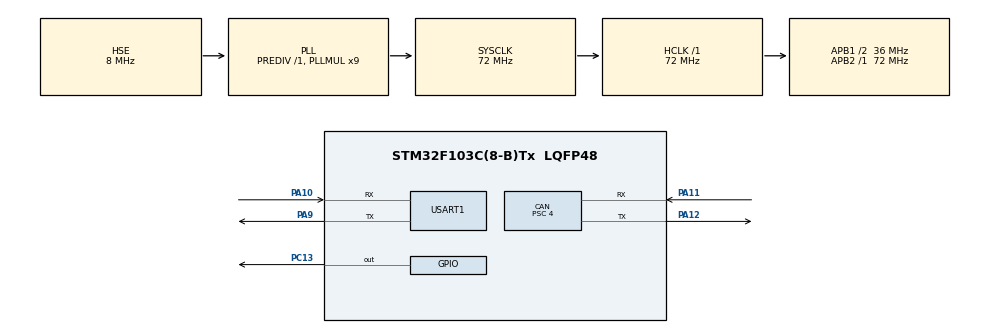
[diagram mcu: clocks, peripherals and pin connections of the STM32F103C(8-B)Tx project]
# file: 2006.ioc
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CAN.ABOM=ENABLE
CAN.AWUM=DISABLE
CAN.BS1=CAN_BS1_6TQ
CAN.BS2=CAN_BS2_2TQ
CAN.CalculateBaudRate=1000000
CAN.CalculateTimeBit=1000
CAN.CalculateTimeQuantum=111.11111111111111
CAN.Mode=CAN_MODE_NORMAL
CAN.Prescaler=4
Dma.Request0=USART1_TX
Dma.USART1_TX.0.Direction=DMA_MEMORY_TO_PERIPH
Dma.USART1_TX.0.Instance=DMA1_Channel4
Dma.USART1_TX.0.MemDataAlignment=DMA_MDATAALIGN_BYTE
Dma.USART1_TX.0.MemInc=DMA_MINC_ENABLE
Dma.USART1_TX.0.Mode=DMA_NORMAL
Dma.USART1_TX.0.PeriphDataAlignment=DMA_PDATAALIGN_BYTE
Dma.USART1_TX.0.PeriphInc=DMA_PINC_DISABLE
Dma.USART1_TX.0.Priority=DMA_PRIORITY_MEDIUM
Mcu.Family=STM32F1
Mcu.Name=STM32F103C(8-B)Tx
Mcu.Package=LQFP48
NVIC.CAN1_RX1_IRQn=true\:0\:0\:false\:false\:true\:true\:true\:true
NVIC.DMA1_Channel4_IRQn=true\:0\:0\:false\:false\:true\:false\:true\:true
NVIC.PriorityGroup=NVIC_PRIORITYGROUP_4
NVIC.USART1_IRQn=true\:0\:0\:false\:false\:true\:true\:true\:true
PA10.Mode=Asynchronous
PA10.Signal=USART1_RX
PA11.Mode=CAN_Activate
PA11.Signal=CAN_RX
PA12.Mode=CAN_Activate
PA12.Signal=CAN_TX
PA13.Mode=Serial_Wire
PA13.Signal=SYS_JTMS-SWDIO
PA14.Mode=Serial_Wire
PA14.Signal=SYS_JTCK-SWCLK
PA9.Mode=Asynchronous
PA9.Signal=USART1_TX
PC13-TAMPER-RTC.PinState=GPIO_PIN_RESET
PC13-TAMPER-RTC.Signal=GPIO_Output
PD0-OSC_IN.Mode=HSE-External-Oscillator
PD0-OSC_IN.Signal=RCC_OSC_IN
PD1-OSC_OUT.Mode=HSE-External-Oscillator
PD1-OSC_OUT.Signal=RCC_OSC_OUT
ProjectManager.HeapSize=0x200
ProjectManager.StackSize=0x400
ProjectManager.TargetToolchain=CMake
RCC.AHBFreq_Value=72000000
RCC.APB1CLKDivider=RCC_HCLK_DIV2
RCC.APB1Freq_Value=36000000
RCC.APB1TimFreq_Value=72000000
RCC.APB2Freq_Value=72000000
RCC.APB2TimFreq_Value=72000000
RCC.HCLKFreq_Value=72000000
RCC.PLLMUL=RCC_PLL_MUL9
RCC.PLLSourceVirtual=RCC_PLLSOURCE_HSE
RCC.SYSCLKFreq_VALUE=72000000
RCC.SYSCLKSource=RCC_SYSCLKSOURCE_PLLCLK
RCC.USBFreq_Value=72000000
USART1.VirtualMode=VM_ASYNC
board=custom

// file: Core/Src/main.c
/* USER CODE BEGIN Header */
/**
  ******************************************************************************
  * @file           : main.c
  * @brief          : Main program body
  ******************************************************************************
  * @attention
  *
  * Copyright (c) 2026 STMicroelectronics.
  * All rights reserved.
  *
  * This software is licensed under terms that can be found in the LICENSE file
  * in the root directory of this software component.
  * If no LICENSE file comes with this software, it is provided AS-IS.
  *
  ******************************************************************************
  */
/* USER CODE END Header */
#include "main.h"
#include "can.h"
#include "dma.h"
#include "usart.h"
#include "gpio.h"
#include "math.h"
/* USER CODE BEGIN Includes */
#include <stdio.h>
/* USER CODE END Includes */

/* USER CODE BEGIN PTD */
// 1. 定义标准的 PID 控制器结构体，方便面向对象进行串级管理
typedef struct {
  float Kp;             // 比例增益
  float Ki;             // 积分增益
  float Kd;             // 微分增益

  float error;          // 当前偏差
  float last_error;     // 上一次偏差
  float integral;       // 积分累加值

  float max_integral;   // 积分限幅
  float max_output;     // 输出限幅

  float out;            // PID 最终输出值
} PID_Controller;
/* USER CODE END PTD */

/* USER CODE BEGIN PD */
volatile float motor_angle = 0.0f;       // 减速后输出轴的累计绝对物理角度 (度)
volatile float motor_speed = 0.0f;       // 减速后输出轴的实际转速 (rpm)
volatile float motor_current = 0.0f;     // 实际反馈转矩电流
volatile float motor_error = 0.0f;       // 电机错误码反馈

// 多圈角度解算辅助变量
static int32_t rotor_round = 0;          // 转子累计转过的整圈数
static uint16_t last_angle = 0;          // 上一次接收到的转子单圈角度

volatile float expected_position = 0.0f; // 期望目标位置 (度)

// 2. 空载状态下的 PID 参数静态初始化
// 位置外环：纯 P 控制，输入偏差(deg)，输出目标速度(rpm)。Kp=2.2 时 90°偏差 → 198 rpm
static PID_Controller pos_pid = {
  .Kp = 2.7f,
  .Ki = 0.0f,
  .Kd = 0.0f,
  .error = 0.0f,
  .last_error = 0.0f,
  .integral = 0.0f,
  .max_integral = 50.0f,// 预留积分限幅，防止误开 Ki 时积分饱和
  .max_output = 1000.0f,// 输出轴最大速度限幅 1000 rpm（M2006 空载约 200 rpm）
  .out = 0.0f
};

// 速度内环：PI 控制，输入速度偏差(rpm)，输出控制电流 [-10000, 10000]
static PID_Controller spd_pid = {
  .Kp = 150.0f,
  .Ki = 0.5f,
  .Kd = 0.0f,
  .error = 0.0f,
  .last_error = 0.0f,
  .integral = 0.0f,
  .max_integral = 1000.0f,// 积分限幅防止积分饱和
  .max_output = 6000.0f,// 电流最高限幅 5000
  .out = 0.0f
};

volatile uint8_t new_data_flag = 0;

#define TWO_PI 6.283185307f
#define AMPLITUDE 360.0f                  // 位置目标幅值：让输出轴在 度 到 度 之间摆动
#define BASE_PERIOD_MS  2000
#define CH_COUNT  4                      // 发送给上位机的通道数
#define WAVE_NORM       (1.0f / 2.65f)

#pragma pack(push, 1)
typedef struct {
  float fdata[CH_COUNT];
  uint8_t tail[4];
} JustFloatFrame;
#pragma pack(pop)

/* USER CODE END PD */

void SystemClock_Config(void);
/* USER CODE BEGIN PFP */
void C610_SendCurrent(uint8_t id, int16_t current);
float PID_Calculate(PID_Controller *pid, float error);
float get_chaotic_periodic(uint32_t tick_ms, float max_offset);
/* USER CODE END PFP */

int main(void)
{

  /* MCU Configuration--------------------------------------------------------*/

  /* Reset of all peripherals, Initializes the Flash interface and the Systick. */
  HAL_Init();

  /* Configure the system clock */
  SystemClock_Config();

  /* Initialize all configured peripherals */
  MX_GPIO_Init();
  MX_DMA_Init();
  MX_CAN_Init();
  MX_USART1_UART_Init();
  /* USER CODE BEGIN 2 */
  CAN_FilterTypeDef sFilterConfig;
  // 1. 配置过滤器参数
  sFilterConfig.FilterBank = 0;                        // 使用过滤器组 0
  sFilterConfig.FilterMode = CAN_FILTERMODE_IDMASK;    // 掩码模式
  sFilterConfig.FilterScale = CAN_FILTERSCALE_32BIT;   // 32位位宽

  // ID 和 掩码 全部设为 0，代表"不过滤任何报文"，接收总线上的所有数据
  sFilterConfig.FilterIdHigh = 0x0000;                 // 验证码高位
  sFilterConfig.FilterIdLow = 0x0000;                  // 验证码低位
  sFilterConfig.FilterMaskIdHigh = 0x0000;             // 掩码高位
  sFilterConfig.FilterMaskIdLow = 0x0000;              // 掩码低位

  sFilterConfig.FilterFIFOAssignment = CAN_RX_FIFO1;   // 过滤后将数据放入 FIFO1
  sFilterConfig.FilterActivation = ENABLE;             // 激活该过滤器

  // 2. 将配置写入硬件寄存器
  if (HAL_CAN_ConfigFilter(&hcan, &sFilterConfig) != HAL_OK)
  {
    Error_Handler(); // 配置失败则进入死循环
  }

  // 3. 启动 CAN 外设
  if (HAL_CAN_Start(&hcan) != HAL_OK)
  {
    Error_Handler();
  }

  // 4. 开启 CAN 接收 FIFO1 挂起中断
  if (HAL_CAN_ActivateNotification(&hcan, CAN_IT_RX_FIFO1_MSG_PENDING) != HAL_OK)
  {
    Error_Handler();
  }

  /* USER CODE END 2 */

  /* Infinite loop */
  /* USER CODE BEGIN WHILE */
  uint32_t last_tick = 0;
  JustFloatFrame txFrame = {
    .tail = {0x00, 0x00, 0x80, 0x7f}
  };
  while (1)
  {
    // 1ms 软件定时控制周期
    if (HAL_GetTick() - last_tick >= 1)
    {
      last_tick = HAL_GetTick();

      // 获取当前 1ms 拍子下正弦波计算出的期望物理位置
      expected_position = 720;    //get_chaotic_periodic(HAL_GetTick(), AMPLITUDE);

      // ================= 串级控制核心计算 =================

      // 步骤 1：位置外环计算
      // 输入：目标角度 - 实际绝对输出轴角度 (motor_angle)
      // 输出：计算出的目标速度 (target_speed)
      float pos_error = expected_position - motor_angle;
      float target_speed = PID_Calculate(&pos_pid, pos_error);

      // 步骤 2：速度内环计算
      // 输入：目标速度 - 实际输出轴转数 (motor_speed)
      // 输出：期望控制电流指令
      float spd_error = target_speed - motor_speed;
      float current_cmd_f = PID_Calculate(&spd_pid, spd_error);

      // 转换为 int16_t 指令
      int16_t current_cmd = (int16_t)current_cmd_f;

      // 发送电流控制信号给 ID 为 4 的电调[cite: 1]
      C610_SendCurrent(4, current_cmd);

      // 增加发送前对 UART 状态的校验，防止 1ms 极短时间内把 DMA 挤爆
      if (huart1.gState == HAL_UART_STATE_READY)
      {
        HAL_UART_Transmit_DMA(&huart1, (uint8_t*)&txFrame, sizeof(JustFloatFrame));
      }
    }

    // 处理接收到的反馈（仅在收到新数据时执行）
    if (new_data_flag)
    {
      new_data_flag = 0;                      // 清除标志
      HAL_GPIO_TogglePin(GPIOC, GPIO_PIN_13); // LED 闪烁指示接收

      // 填充发送给上位机的数据，以便上位机直观地观测实际位置和目标位置的贴合情况
      txFrame.fdata[0] = motor_angle;         // 通道 0：输出轴绝对位置 (度)
      txFrame.fdata[1] = motor_speed;         // 通道 1：输出轴实际转速 (rpm)
      txFrame.fdata[2] = motor_current;       // 通道 2：实际转矩电流 (A)
      txFrame.fdata[3] = expected_position;   // 通道 3：期望目标位置 (度)
    }

    /* USER CODE END WHILE */

  }
}

void SystemClock_Config(void)
{
  RCC_OscInitTypeDef RCC_OscInitStruct = {0};
  RCC_ClkInitTypeDef RCC_ClkInitStruct = {0};

  /** Initializes the RCC Oscillators according to the specified parameters
  * in the RCC_OscInitTypeDef structure.
  */
  RCC_OscInitStruct.OscillatorType = RCC_OSCILLATORTYPE_HSE;
  RCC_OscInitStruct.HSEState = RCC_HSE_ON;
  RCC_OscInitStruct.HSEPredivValue = RCC_HSE_PREDIV_DIV1;
  RCC_OscInitStruct.HSIState = RCC_HSI_ON;
  RCC_OscInitStruct.PLL.PLLState = RCC_PLL_ON;
  RCC_OscInitStruct.PLL.PLLSource = RCC_PLLSOURCE_HSE;
  RCC_OscInitStruct.PLL.PLLMUL = RCC_PLL_MUL9;
  if (HAL_RCC_OscConfig(&RCC_OscInitStruct) != HAL_OK)
  {
    Error_Handler();
  }

  /** Initializes the CPU, AHB and APB buses clocks
  */
  RCC_ClkInitStruct.ClockType = RCC_CLOCKTYPE_HCLK|RCC_CLOCKTYPE_SYSCLK
                              |RCC_CLOCKTYPE_PCLK1|RCC_CLOCKTYPE_PCLK2;
  RCC_ClkInitStruct.SYSCLKSource = RCC_SYSCLKSOURCE_PLLCLK;
  RCC_ClkInitStruct.AHBCLKDivider = RCC_SYSCLK_DIV1;
  RCC_ClkInitStruct.APB1CLKDivider = RCC_HCLK_DIV2;
  RCC_ClkInitStruct.APB2CLKDivider = RCC_HCLK_DIV1;

  if (HAL_RCC_ClockConfig(&RCC_ClkInitStruct, FLASH_LATENCY_2) != HAL_OK)
  {
    Error_Handler();
  }
}

/* USER CODE BEGIN 4 */
// 发送控制指令给某个 ID 的电调，控制电流值范围 -10000 ~ 10000 对应输出 -10A ~ 10A[cite: 1]
void C610_SendCurrent(uint8_t id, int16_t current)
{
  CAN_TxHeaderTypeDef tx_header;
  uint8_t tx_data[8] = {0};
  uint32_t tx_mailbox;

  tx_header.StdId = 0x200;   // 控制 1~4 号电调使用 0x200 标识符[cite: 1]
  tx_header.ExtId = 0;
  tx_header.IDE = CAN_ID_STD;
  tx_header.RTR = CAN_RTR_DATA;
  tx_header.DLC = 8;
  tx_header.TransmitGlobalTime = DISABLE;

  // 根据 ID 在数据域中的位置填充[cite: 1]
  int offset = ((id - 1) % 4) * 2;   // 针对 ID 4，offset 为 6，占用 DATA[6] 和 DATA[7][cite: 1]
  tx_data[offset] = (current >> 8) & 0xFF;
  tx_data[offset + 1] = current & 0xFF;

  HAL_CAN_AddTxMessage(&hcan, &tx_header, tx_data, &tx_mailbox);
}

// 统一的通用 PID 计算函数
float PID_Calculate(PID_Controller *pid, float error) {
  pid->error = error;

  // 比例项
  float P_term = pid->Kp * error;

  // 积分项（1ms = 0.001s）
  pid->integral += error * 0.001f;

  // 积分项抗饱和限幅
  if (pid->integral > pid->max_integral)  pid->integral = pid->max_integral;
  if (pid->integral < -pid->max_integral) pid->integral = -pid->max_integral;

  float I_term = pid->Ki * pid->integral;

  // 微分项（采样周期 1ms）
  float derivative = (error - pid->last_error) / 0.001f;
  float D_term = pid->Kd * derivative;
  pid->last_error = error;

  // 综合计算
  pid->out = P_term + I_term + D_term;

  // 输出限幅
  if (pid->out > pid->max_output)  pid->out = pid->max_output;
  if (pid->out < -pid->max_output) pid->out = -pid->max_output;

  return pid->out;
}

// 获取期望的目标角度，以正弦波形进行平滑变化
// float get_chaotic_periodic(uint32_t tick_ms, float max_offset)
// {
//   // 1. 计算当前周期内的相位（0~1 之间）
//   float phase = (float)(tick_ms % BASE_PERIOD_MS) / BASE_PERIOD_MS;
//   float rad = phase * TWO_PI;
//
//   // 2. 叠加多个不同频率、不同幅值、不同相位偏移的正弦波
//   //    刻意使用非对称的相位偏移 (1.2, 2.7, 0.8, 1.5)，让波形看起来毫无规律
//   float wave = 1.0f * sinf(rad)
//              + 0.8f * sinf(2.0f * rad + 1.2f)
//              + 0.5f * sinf(3.0f * rad + 2.7f)
//              + 0.5f * sinf(5.0f * rad + 0.8f)
//              + 0.3f * sinf(7.0f * rad + 1.5f)
//              + 0.2f * sinf(11.0f * rad + 0.3f)   // 新增11次谐波
//              + 0.15f * sinf(13.0f * rad + 2.1f); // 新增13次谐波
//   // 总系数 = 1.0+0.8+0.5+0.5+0.3+0.2+0.15 = 3.45
// #define WAVE_NORM  (1.0f / 3.45f)
//   // 3. 归一化并乘以用户设定的最大偏移量
//   return max_offset * WAVE_NORM * wave;
// }
// 临时替换 get_chaotic_periodic 为阶跃函数
float get_chaotic_periodic(uint32_t tick_ms, float max_offset)
{
  // 每 2 秒切换一次目标值
  if ((tick_ms / 2000) % 2 == 0)
    return max_offset * 0.5f;   // 例如 180°
  else
    return -max_offset * 0.5f;  // -180°
}
// CAN1 接收中断回调函数
void HAL_CAN_RxFifo1MsgPendingCallback(CAN_HandleTypeDef *hcan)
{
  if (hcan->Instance == CAN1)
  {
    CAN_RxHeaderTypeDef rx_header;
    uint8_t rx_data[8];
    HAL_CAN_GetRxMessage(hcan, CAN_RX_FIFO1, &rx_header, rx_data);

    uint16_t std_id = rx_header.StdId;
    if (std_id >= 0x201 && std_id <= 0x208) // 接收电调反馈[cite: 1]
    {
      // 解析数据
      uint16_t angle = (rx_data[0] << 8) | rx_data[1];      // 单圈转子机械角度 0~8191[cite: 1]
      int16_t speed = (rx_data[2] << 8) | rx_data[3];       // 转子转速 rpm[cite: 1]
      int16_t actual_current = (rx_data[4] << 8) | rx_data[5]; // 实际转矩电流[cite: 1]
      uint8_t error_code = rx_data[7];                      // 电机错误码反馈[cite: 1]

      // 多圈过零检测解算：首次运行初始化，防止启动时跳变
      static uint8_t is_first_run = 1;
      if (is_first_run)
      {
        last_angle = angle;
        is_first_run = 0;
      }

      int16_t diff = angle - last_angle;
      if (diff < -4096)
      {
        rotor_round++; // 正向越过零点，累计圈数 +1
      }
      else if (diff > 4096)
      {
        rotor_round--; // 反向越过零点，累计圈数 -1
      }
      last_angle = angle;

      // 1. 转子单圈物理角度
      float rotor_single_angle = (float)angle / 8191.0f * 360.0f;
      // 2. 转子绝对多圈累计角度
      float total_rotor_angle = (float)rotor_round * 360.0f + rotor_single_angle;

      // 3. 计算 M2006 减速后输出轴的绝对角度（减速比 36:1）
      float output_shaft_angle = total_rotor_angle / 36.0f;

      // 物理量反馈写入全局变量
      motor_angle = output_shaft_angle;                     // 输出轴绝对物理角度 (度)
      motor_speed = (float)speed / 36.0f;                   // 输出轴实际速度 (rpm)
      motor_current = (float)actual_current / 1000.0f;      // 实际电流 (A)
      motor_error = (float)error_code;

      new_data_flag = 1; // 标记接收到最新反馈，通知主循环
    }
  }
}
/* USER CODE END 4 */

void Error_Handler(void)
{
  __disable_irq();
  while (1)
  {
  }
}
